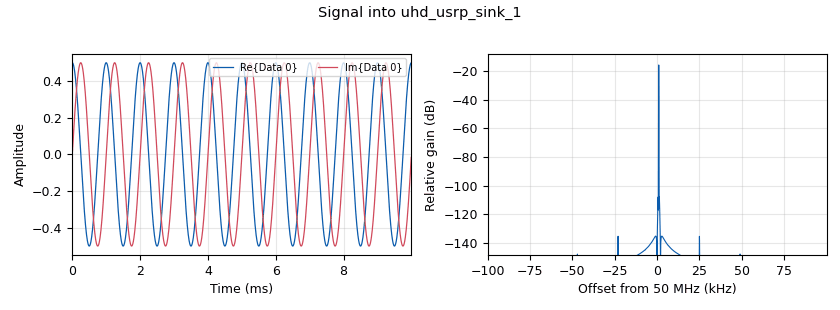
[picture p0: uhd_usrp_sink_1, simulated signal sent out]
options:
  parameters:
    author: Manuel Leon_Jorge Peña
    generate_options: qt_gui
    id: Practica2_L1B_06
    output_language: python
    title: Practica2_L1B_06
  states: {}

blocks:
- name: A
  id: variable_qtgui_range
  parameters:
    label: amplitud señal TX
    orient: Qt.Horizontal
    start: '0'
    step: '1e-4'
    stop: '1'
    value: '0.5'
  states: {}
- name: GTX
  id: variable_qtgui_range
  parameters:
    label: ganancia del TX
    orient: Qt.Horizontal
    start: '0'
    step: '1'
    stop: '30'
    value: '0'
  states: {}
- name: fc
  id: variable_qtgui_range
  parameters:
    label: frecuencia portadora
    orient: Qt.Horizontal
    start: '50000000'
    step: 1e6
    stop: '2200000000'
    value: '50000000'
  states: {}
- name: samp_rate
  id: variable
  parameters:
    value: '200000'
  states: {}
- name: analog_sig_source_x_0
  id: analog_sig_source_x
  parameters:
    amp: A
    freq: '1000'
    offset: '0'
    phase: '0'
    samp_rate: samp_rate
    type: complex
    waveform: analog.GR_COS_WAVE
  states: {}
- name: uhd_usrp_sink_1
  id: uhd_usrp_sink
  parameters:
    ant0: TX/RX
    center_freq0: fc
    dev_args: '""'
    gain0: GTX
    len_tag_name: ''
    norm_gain0: 'False'
    samp_rate: samp_rate
    sync: pc_clock
    type: fc32
  states: {}

connections:
- [analog_sig_source_x_0, '0', uhd_usrp_sink_1, '0']

metadata:
  file_format: 1
